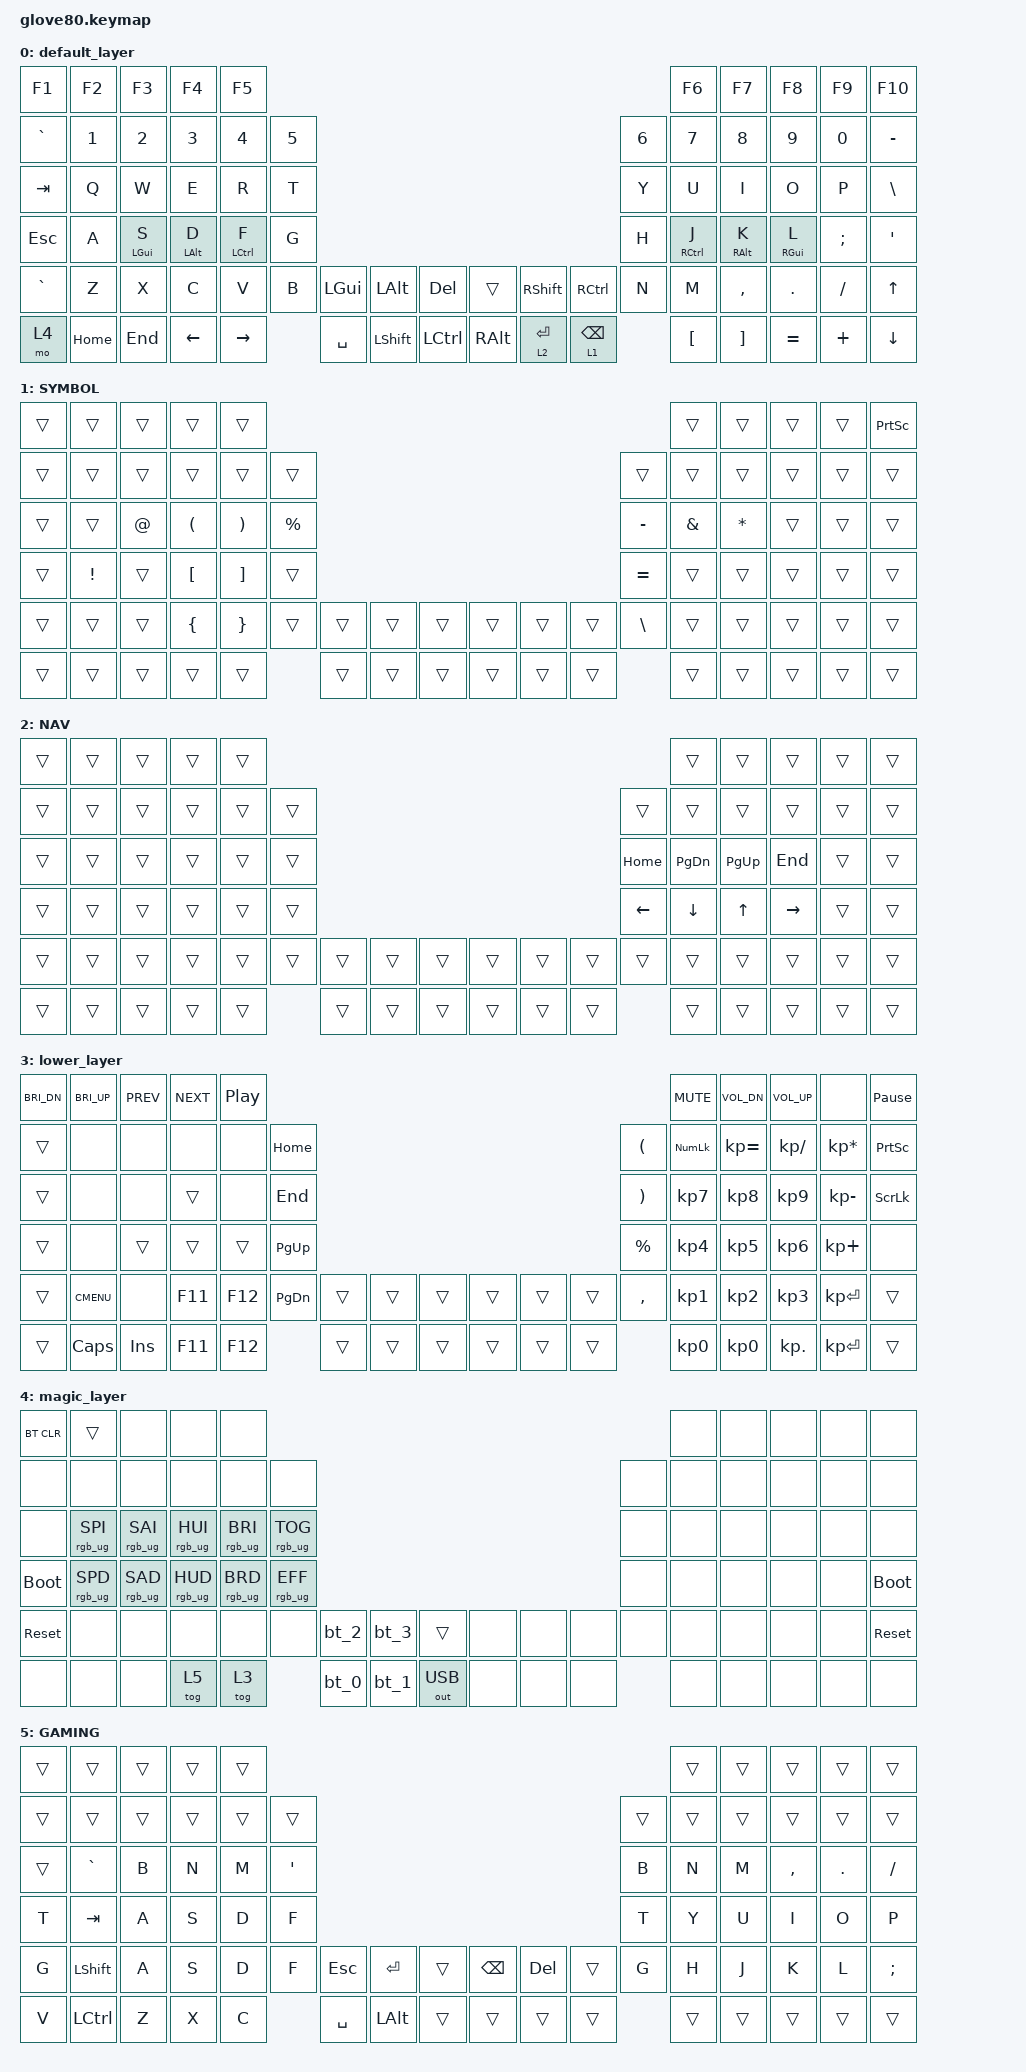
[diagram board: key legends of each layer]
/*
 * Copyright (c) 2020 The ZMK Contributors
 *
 * SPDX-License-Identifier: MIT
 */

#include <behaviors.dtsi>
#include <dt-bindings/zmk/bt.h>
#include <dt-bindings/zmk/keys.h>
#include <dt-bindings/zmk/outputs.h>
#include <dt-bindings/zmk/rgb.h>

// layers

#define DEFAULT 0
#define LOWER 1
#define MAGIC 2

/ {
    behaviors {
        // For the "layer" key, it'd nice to be able to use it as either a shift or a toggle.
        // Configure it as a tap dance, so the first tap (or hold) is a &mo and the second tap is a &to

        layer_td: tap_dance_0 {
            compatible = "zmk,behavior-tap-dance";
            #binding-cells = <0>;
            tapping-term-ms = <200>;
            bindings = <&mo 1>, <&tog 3>, <&tog 5>;
        };

        hm_r: hm_r {
            compatible = "zmk,behavior-hold-tap";
            label = "HOMEROW_MODS_R";
            bindings = <&kp>, <&kp>;

            #binding-cells = <2>;
            tapping-term-ms = <200>;
            flavor = "tap-preferred";
            quick-tap-ms = <250>;
        };

        hm_l: hm_l {
            compatible = "zmk,behavior-hold-tap";
            label = "HOMEROW_MODS_L";
            bindings = <&kp>, <&kp>;

            #binding-cells = <2>;
            tapping-term-ms = <200>;
            quick-tap-ms = <250>;
            flavor = "tap-preferred";
        };

        tab_or_layer: tab_or_layer {
            compatible = "zmk,behavior-hold-tap";
            label = "TAB_OR_LAYER";
            bindings = <&mo>, <&kp>;

            #binding-cells = <2>;
            tapping-term-ms = <125>;
            flavor = "tap-preferred";
        };

        repeat: repeat {
            compatible = "zmk,behavior-hold-tap";
            label = "REPEAT";
            bindings = <&mo>, <&kp>;

            #binding-cells = <2>;
            quick-tap-ms = <300>;
            tapping-term-ms = <150>;
            flavor = "tap-preferred";
        };

        HRM_left_index_v1_TKZ: HRM_left_index_v1_TKZ {
            compatible = "zmk,behavior-hold-tap";
            label = "HRM_LEFT_INDEX_V1_TKZ";
            bindings = <&kp>, <&kp>;

            #binding-cells = <2>;
            tapping-term-ms = <170>;
            quick-tap-ms = <300>;
            require-prior-idle-ms = <100>;
            flavor = "tap-preferred";
            hold-trigger-on-release;
            hold-trigger-key-positions = <52 53 69 70 71 54 55 56 57 72 73 74 75 59 58 40 41 42 60 76 61 77 43 44 45 63 62 78 79 33 32 20 21 9 8 7 19 31 30 18 6 5 17 16 28 29>;
        };

        HRM_left_middy_v1_TKZ: HRM_left_middy_v1_TKZ {
            compatible = "zmk,behavior-hold-tap";
            label = "HRM_LEFT_MIDDY_V1_TKZ";
            bindings = <&kp>, <&kp>;

            #binding-cells = <2>;
            tapping-term-ms = <210>;
            quick-tap-ms = <300>;
            require-prior-idle-ms = <100>;
            flavor = "tap-preferred";
            hold-trigger-on-release;
            hold-trigger-key-positions = <52 53 69 70 71 54 55 56 57 72 73 74 75 59 58 40 41 42 60 76 61 77 43 44 45 63 62 78 79 33 32 20 21 9 8 7 19 31 30 18 6 5 17 16 28 29>;
        };

        HRM_left_pinky_v1_TKZ: HRM_left_pinky_v1_TKZ {
            compatible = "zmk,behavior-hold-tap";
            label = "HRM_LEFT_PINKY_V1_TKZ";
            bindings = <&kp>, <&kp>;

            #binding-cells = <2>;
            tapping-term-ms = <260>;
            quick-tap-ms = <300>;
            require-prior-idle-ms = <100>;
            flavor = "tap-preferred";
            hold-trigger-on-release;
            hold-trigger-key-positions = <52 53 69 70 71 54 55 56 57 72 73 74 75 59 58 40 41 42 60 76 61 77 43 44 45 63 62 78 79 33 32 20 21 9 8 7 19 31 30 18 6 5 17 16 28 29>;
        };

        HRM_left_ring_v1_TKZ: HRM_left_ring_v1_TKZ {
            compatible = "zmk,behavior-hold-tap";
            label = "HRM_LEFT_RING_V1_TKZ";
            bindings = <&kp>, <&kp>;

            #binding-cells = <2>;
            tapping-term-ms = <240>;
            quick-tap-ms = <300>;
            require-prior-idle-ms = <100>;
            flavor = "tap-preferred";
            hold-trigger-on-release;
            hold-trigger-key-positions = <52 53 69 70 71 54 55 56 57 72 73 74 75 59 58 40 41 42 60 76 61 77 43 44 45 63 62 78 79 33 32 20 21 9 8 7 19 31 30 18 6 5 17 16 28 29>;
        };

        HRM_right_index_v1_TKZ: HRM_right_index_v1_TKZ {
            compatible = "zmk,behavior-hold-tap";
            label = "HRM_RIGHT_INDEX_V1_TKZ";
            bindings = <&kp>, <&kp>;

            #binding-cells = <2>;
            tapping-term-ms = <170>;
            quick-tap-ms = <300>;
            require-prior-idle-ms = <100>;
            flavor = "tap-preferred";
            hold-trigger-on-release;
            hold-trigger-key-positions = <0 1 2 3 4 10 11 12 13 14 15 22 23 24 25 26 27 34 35 36 37 38 39 46 47 48 49 50 51 64 65 66 67 68 53 54 69 70 71 52 55 56 57 72 73 74>;
        };

        HRM_right_middy_v1_TKZ: HRM_right_middy_v1_TKZ {
            compatible = "zmk,behavior-hold-tap";
            label = "HRM_RIGHT_MIDDY_V1_TKZ";
            bindings = <&kp>, <&kp>;

            #binding-cells = <2>;
            tapping-term-ms = <210>;
            quick-tap-ms = <300>;
            require-prior-idle-ms = <100>;
            flavor = "tap-preferred";
            hold-trigger-on-release;
            hold-trigger-key-positions = <0 1 2 3 4 10 11 12 13 14 15 22 23 24 25 26 27 34 35 36 37 38 39 46 47 48 49 50 51 52 53 54 64 65 66 67 68 69 70 71 57 74 73 56 72 55>;
        };

        HRM_right_pinky_v1_TKZ: HRM_right_pinky_v1_TKZ {
            compatible = "zmk,behavior-hold-tap";
            label = "HRM_RIGHT_PINKY_V1_TKZ";
            bindings = <&kp>, <&kp>;

            #binding-cells = <2>;
            tapping-term-ms = <260>;
            quick-tap-ms = <300>;
            require-prior-idle-ms = <100>;
            flavor = "tap-preferred";
            hold-trigger-on-release;
            hold-trigger-key-positions = <0 1 2 3 4 10 11 12 13 14 15 22 23 24 25 26 27 34 35 36 37 38 39 46 47 48 49 50 51 52 53 64 65 66 67 68 69 70 71 54 55 56 72 73 74 57>;
        };

        HRM_right_ring_v1_TKZ: HRM_right_ring_v1_TKZ {
            compatible = "zmk,behavior-hold-tap";
            label = "HRM_RIGHT_RING_V1_TKZ";
            bindings = <&kp>, <&kp>;

            #binding-cells = <2>;
            tapping-term-ms = <240>;
            quick-tap-ms = <300>;
            require-prior-idle-ms = <100>;
            flavor = "tap-preferred";
            hold-trigger-on-release;
            hold-trigger-key-positions = <0 1 2 3 4 10 11 12 13 14 15 22 23 24 25 26 27 34 35 36 37 38 39 46 47 48 49 50 51 52 53 56 57 64 65 66 67 68 69 70 73 74 54 55 70 71 72>;
        };
    };

    macros {
        bt_0: bt_profile_macro_0 {
            compatible = "zmk,behavior-macro";
            #binding-cells = <0>;
            bindings = <&out OUT_BLE &bt BT_SEL 0>;
        };

        bt_1: bt_profile_macro_1 {
            compatible = "zmk,behavior-macro";
            #binding-cells = <0>;
            bindings = <&out OUT_BLE &bt BT_SEL 1>;
        };

        bt_2: bt_profile_macro_2 {
            compatible = "zmk,behavior-macro";
            #binding-cells = <0>;
            bindings = <&out OUT_BLE &bt BT_SEL 2>;
        };

        bt_3: bt_profile_macro_3 {
            compatible = "zmk,behavior-macro";
            #binding-cells = <0>;
            bindings = <&out OUT_BLE &bt BT_SEL 3>;
        };
    };

    combos {
        compatible = "zmk,combos";

        escape {
            bindings = <&kp ESC>;
            key-positions = <53 56>;
        };

        caps {
            bindings = <&kp CAPSLOCK>;
            key-positions = <73 70>;
        };
    };

    keymap {
        compatible = "zmk,keymap";

        default_layer {
            // ---------------------------------------------------------------------------------------------------------------------------------
            // |  F1   |  F2 |  F3 |  F4  |  F5  |                                                               |  F6   |  F7   |  F8  |   F9  |  F10 |
            // |  =    |  1  |  2  |  3   |  4   |  5   |                                                 |  6   |   7   |   8   |  9   |   0   |   -  |
            // |  TAB  |  Q  |  W  |  E   |  R   |  T   |                                                 |  Y   |   U   |   I   |  O   |   P   |   \  |
            // |  ESC  |  A  |  S  |  D   |  F   |  G   |                                                 |  H   |   J   |   K   |  L   |   ;   |   '  |
            // |   `   |  Z  |  X  |  C   |  V   |  B   | LSHFT | LCTRL | LOWER | | LGUI  | RCTRL | RSHFT |  N   |   M   |   ,   |  .   |   /   | PGUP |
            // | MAGIC | HOME| END | LEFT | RIGHT|      | BSPC  | DEL   | LALT  | | RALT  | RET   | SPACE |      |  UP   | DOWN  |  [   |   ]   | PGDN |

            bindings = <
&kp F1     &kp F2    &kp F3                        &kp F4                         &kp F5                                                                                                                                  &kp F6                           &kp F7                               &kp F8                         &kp F9         &kp F10
&kp GRAVE  &kp N1    &kp N2                        &kp N3                         &kp N4                          &kp N5                                                                                          &kp N6  &kp N7                           &kp N8                               &kp N9                         &kp N0         &kp MINUS
&kp TAB    &kp Q     &kp W                         &kp E                          &kp R                           &kp T                                                                                           &kp Y   &kp U                            &kp I                                &kp O                          &kp P          &kp BACKSLASH
&kp ESC    &kp A     &HRM_left_ring_v1_TKZ LGUI S  &HRM_left_middy_v1_TKZ LALT D  &HRM_left_index_v1_TKZ LCTRL F  &kp G                                                                                           &kp H   &HRM_right_index_v1_TKZ RCTRL J  &HRM_right_middy_v1_TKZ RIGHT_ALT K  &HRM_right_ring_v1_TKZ RGUI L  &kp SEMICOLON  &kp SINGLE_QUOTE
&kp GRAVE  &kp Z     &kp X                         &kp C                          &kp V                           &kp B   &kp LEFT_GUI  &kp LALT    &kp DELETE    &trans    &kp RSHIFT       &kp RCTRL            &kp N   &kp M                            &kp COMMA                            &kp DOT                        &kp FSLH       &kp UP
&mo 4      &kp HOME  &kp END                       &kp LEFT                       &kp RIGHT                               &kp SPACE     &kp LSHIFT  &kp LCTRL     &kp RALT  &repeat 2 ENTER  &repeat 1 BACKSPACE          &kp LEFT_BRACKET                 &kp RIGHT_BRACKET                    &kp EQUAL                      &kp PLUS       &kp DOWN
            >;
        };

        SYMBOL {
            bindings = <
&trans  &trans           &trans       &trans                &trans                                                                                               &trans         &trans        &trans  &trans  &kp PSCRN
&trans  &trans           &trans       &trans                &trans                 &trans                                                         &trans         &trans         &trans        &trans  &trans  &trans
&trans  &trans           &kp AT_SIGN  &kp LEFT_PARENTHESIS  &kp RIGHT_PARENTHESIS  &kp PERCENT                                                    &kp MINUS      &kp AMPERSAND  &kp ASTERISK  &trans  &trans  &trans
&trans  &kp EXCLAMATION  &trans       &kp LEFT_BRACKET      &kp RIGHT_BRACKET      &trans                                                         &kp EQUAL      &trans         &trans        &trans  &trans  &trans
&trans  &trans           &trans       &kp LEFT_BRACE        &kp RIGHT_BRACE        &trans       &trans  &trans  &trans    &trans  &trans  &trans  &kp BACKSLASH  &trans         &trans        &trans  &trans  &trans
&trans  &trans           &trans       &trans                &trans                              &trans  &trans  &trans    &trans  &trans  &trans                 &trans         &trans        &trans  &trans  &trans
            >;
        };

        NAV {
            bindings = <
&trans  &trans  &trans  &trans  &trans                                                                      &trans     &trans     &trans     &trans  &trans
&trans  &trans  &trans  &trans  &trans  &trans                                                    &trans    &trans     &trans     &trans     &trans  &trans
&trans  &trans  &trans  &trans  &trans  &trans                                                    &kp HOME  &kp PG_DN  &kp PG_UP  &kp END    &trans  &trans
&trans  &trans  &trans  &trans  &trans  &trans                                                    &kp LEFT  &kp DOWN   &kp UP     &kp RIGHT  &trans  &trans
&trans  &trans  &trans  &trans  &trans  &trans  &trans  &trans  &trans    &trans  &trans  &trans  &trans    &trans     &trans     &trans     &trans  &trans
&trans  &trans  &trans  &trans  &trans          &trans  &trans  &trans    &trans  &trans  &trans            &trans     &trans     &trans     &trans  &trans
            >;
        };

        lower_layer {
            bindings = <
&kp C_BRI_DN  &kp C_BRI_UP  &kp C_PREV  &kp C_NEXT  &kp C_PP                                                                          &kp C_MUTE  &kp C_VOL_DN  &kp C_VOL_UP   &none            &kp PAUSE_BREAK
&trans        &none         &none       &none       &none     &kp HOME                                                     &kp LPAR   &kp KP_NUM  &kp KP_EQUAL  &kp KP_DIVIDE  &kp KP_MULTIPLY  &kp PSCRN
&trans        &none         &none       &trans      &none     &kp END                                                      &kp RPAR   &kp KP_N7   &kp KP_N8     &kp KP_N9      &kp KP_MINUS     &kp SLCK
&trans        &none         &trans      &trans      &trans    &kp PG_UP                                                    &kp PRCNT  &kp KP_N4   &kp KP_N5     &kp KP_N6      &kp KP_PLUS      &none
&trans        &kp K_CMENU   &none       &kp F11     &kp F12   &kp PG_DN  &trans  &trans  &trans    &trans  &trans  &trans  &kp COMMA  &kp KP_N1   &kp KP_N2     &kp KP_N3      &kp KP_ENTER     &trans
&trans        &kp CAPS      &kp INS     &kp F11     &kp F12              &trans  &trans  &trans    &trans  &trans  &trans             &kp KP_N0   &kp KP_N0     &kp KP_DOT     &kp KP_ENTER     &trans
            >;
        };

        magic_layer {
            bindings = <
&bt BT_CLR   &trans           &none            &none            &none                                                                                       &none  &none  &none  &none  &none
&none        &none            &none            &none            &none            &none                                                               &none  &none  &none  &none  &none  &none
&none        &rgb_ug RGB_SPI  &rgb_ug RGB_SAI  &rgb_ug RGB_HUI  &rgb_ug RGB_BRI  &rgb_ug RGB_TOG                                                     &none  &none  &none  &none  &none  &none
&bootloader  &rgb_ug RGB_SPD  &rgb_ug RGB_SAD  &rgb_ug RGB_HUD  &rgb_ug RGB_BRD  &rgb_ug RGB_EFF                                                     &none  &none  &none  &none  &none  &bootloader
&sys_reset   &none            &none            &none            &none            &none            &bt_2  &bt_3  &trans          &none  &none  &none  &none  &none  &none  &none  &none  &sys_reset
&none        &none            &none            &tog 5           &tog 3                            &bt_0  &bt_1  &out OUT_USB    &none  &none  &none         &none  &none  &none  &none  &none
            >;
        };

        GAMING {
            bindings = <
&trans  &trans      &trans  &trans  &trans                                                                             &trans  &trans  &trans     &trans   &trans
&trans  &trans      &trans  &trans  &trans  &trans                                                             &trans  &trans  &trans  &trans     &trans   &trans
&trans  &kp GRAVE   &kp B   &kp N   &kp M   &kp SQT                                                            &kp B   &kp N   &kp M   &kp COMMA  &kp DOT  &kp FSLH
&kp T   &kp TAB     &kp A   &kp S   &kp D   &kp F                                                              &kp T   &kp Y   &kp U   &kp I      &kp O    &kp P
&kp G   &kp LSHIFT  &kp A   &kp S   &kp D   &kp F    &kp ESC    &kp RET   &trans    &kp BSPC  &kp DEL  &trans  &kp G   &kp H   &kp J   &kp K      &kp L    &kp SEMI
&kp V   &kp LCTRL   &kp Z   &kp X   &kp C            &kp SPACE  &kp LALT  &trans    &trans    &trans   &trans          &trans  &trans  &trans     &trans   &trans
            >;
        };
    };
};
